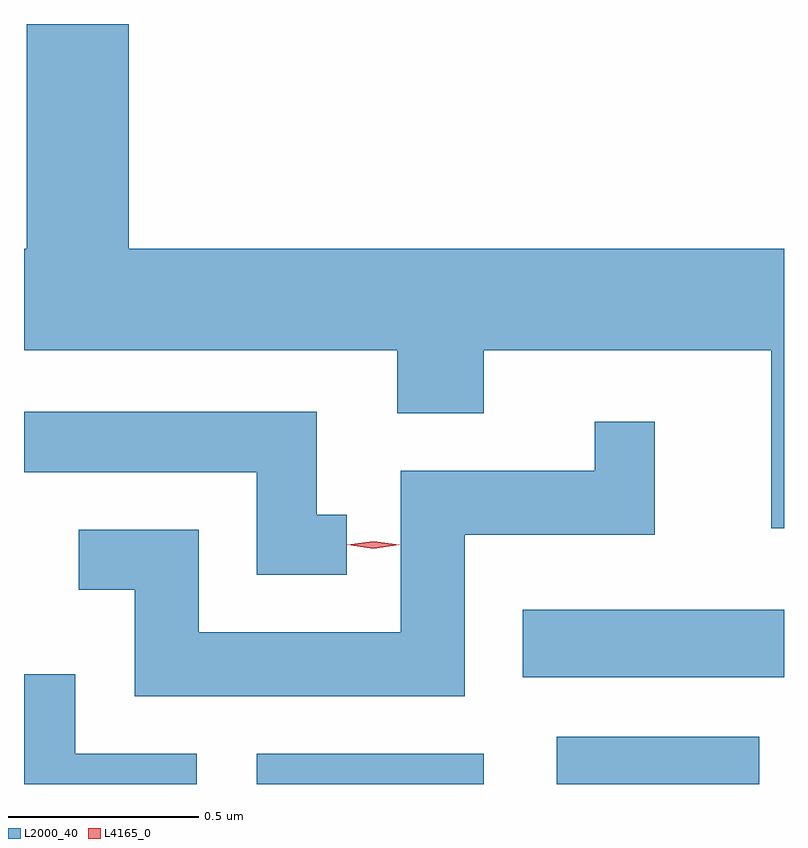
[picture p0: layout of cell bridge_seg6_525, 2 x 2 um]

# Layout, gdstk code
import gdstk
lib = gdstk.Library(unit=1e-6, precision=1e-09)
def R(c, l, rs):  # rectangles x0, y0, x1, y1
    for r in rs: c.add(gdstk.rectangle(r[:2], r[2:], *l))
def P(c, l, *ps):  # polygons
    for p in ps: c.add(gdstk.Polygon(p, *l))
L2000_40 = (2000, 40)
L4165_0 = (4165, 0)

bridge_seg6_525 = lib.new_cell('bridge_seg6_525')
R(bridge_seg6_525, L2000_40, [(835.061,1597.735,835.659,1597.814), (835.851,1597.735,836.384,1597.859), (835.761,1598.016,836.449,1598.194)])
P(bridge_seg6_525, L2000_40, [(836.449,1599.144),(834.724,1599.144),(834.724,1599.735),(834.456,1599.735),(834.456,1599.144),(834.449,1599.144),(834.449,1598.876),(835.431,1598.876),(835.431,1598.711),(835.659,1598.711),(835.659,1598.876),(836.416,1598.876),(836.416,1598.408),(836.449,1598.408)],
  [(835.298,1598.444),(835.219,1598.444),(835.219,1598.714),(834.449,1598.714),(834.449,1598.556),(835.061,1598.556),(835.061,1598.286),(835.298,1598.286)],
  [(835.609,1598.391),(836.109,1598.391),(836.109,1598.688),(835.951,1598.688),(835.951,1598.559),(835.441,1598.559),(835.441,1598.134),(834.909,1598.134),(834.909,1598.404),(834.593,1598.404),(834.593,1598.246),(834.741,1598.246),(834.741,1597.966),(835.609,1597.966)],
  [(834.904,1597.814),(834.584,1597.814),(834.584,1598.024),(834.449,1598.024),(834.449,1597.735),(834.904,1597.735)])
P(bridge_seg6_525, L4165_0, [(835.368,1598.354),(835.299,1598.364),(835.299,1598.364),(835.299,1598.365),(835.368,1598.374),(835.438,1598.365),(835.438,1598.364),(835.438,1598.364)])

lib.write_gds('bridge_seg6_525.gds')
